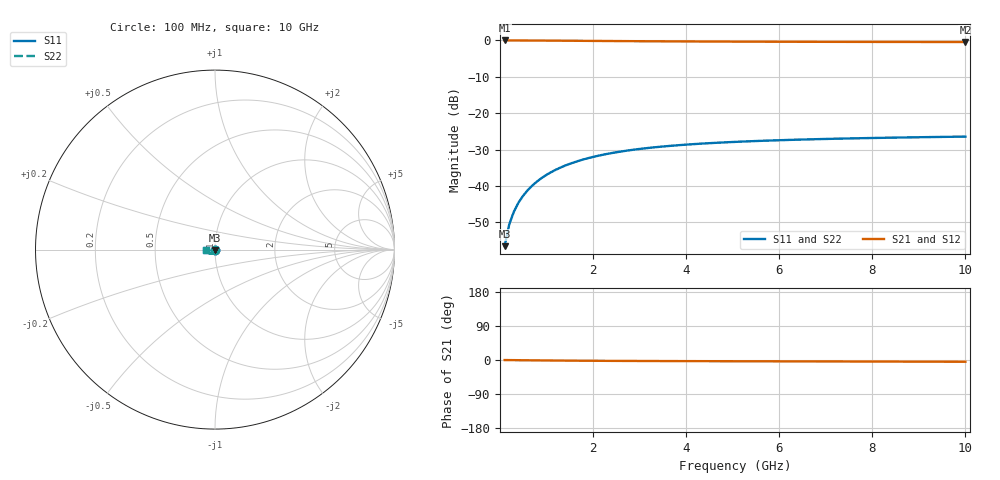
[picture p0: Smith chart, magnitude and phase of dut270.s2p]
! Touchstone file exported from HFSS 2024.1.0
!  File:  C:/UserFiles/LocalFiles/RDL_TSV_Batchsim/temp_TSV1_270_1779392314.aedt
!  Generated:  03:42:58 AM May 22, 2026
!  Design:  TSV1
!  Project:  temp_TSV1_270_1779392314
!  Setup:  Setup1
!  Solution:  Sweep
! Variables:
!  dtsv = 14.15um
!  hbump = 3um
!  htsv = 68.76um
!  lrdl = 252.1521522um
!  p = 40
!  p1 = 57.68um
!  t = 500um
!  trdl = 3um
!  wrdl = 24.89489489um
# GHz S MA R 50.000000
! Terminal data exported
! Port[1] = TSV22_T1
! Port[2] = TSV22_T2
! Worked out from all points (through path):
!   100 points, 100 MHz to 10 GHz, reference 50 ohm
!   highest |S21| = 0.00 dB at 100 MHz (marker M1); lowest = -0.4 dB at 10 GHz (marker M2)
!   lowest |S11| = -56.6 dB at 100 MHz (marker M3), VSWR 1.00, Z = 50 - j0.148 ohm
!   |S11| at or under -10 dB: start of sweep to end of sweep
!   |S22| runs from -56.6 to -26.5 dB; largest |S21 - S12| = 4.1e-15
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0.1  0.00148 -89.1  0.9999 -0.1  0.9999 -0.1  0.00148 -89.1
! Gamma 0 0 0 0
! Port Impedance 50 0 50 0
0.2  0.002958 -92.3  0.9997 -0.3  0.9997 -0.3  0.002958 -92.3
0.3  0.004433 -94.7  0.9994 -0.4  0.9994 -0.4  0.004433 -94.7
0.4  0.005897 -96.9  0.9991 -0.5  0.9991 -0.5  0.005897 -96.9
0.5  0.007345 -99.0  0.9986 -0.6  0.9986 -0.6  0.007345 -99.0
0.6  0.008771 -101.0  0.9981 -0.8  0.9981 -0.8  0.008771 -101.0
0.7  0.01017 -103.0  0.9974 -0.9  0.9974 -0.9  0.01017 -103.0
0.8  0.01154 -105.0  0.9968 -1.0  0.9968 -1.0  0.01154 -105.0
0.9  0.01288 -106.9  0.996 -1.1  0.996 -1.1  0.01288 -106.9
1.1  0.01544 -110.5  0.9943 -1.3  0.9943 -1.3  0.01544 -110.5
1.4  0.01899 -115.7  0.9916 -1.6  0.9916 -1.6  0.01899 -115.7
1.6  0.02115 -118.9  0.9896 -1.8  0.9896 -1.8  0.02115 -118.9
1.8  0.02315 -122.0  0.9876 -1.9  0.9876 -1.9  0.02315 -122.0
2.1  0.02586 -126.3  0.9846 -2.1  0.9846 -2.1  0.02586 -126.3
2.5  0.02897 -131.4  0.9808 -2.4  0.9808 -2.4  0.02897 -131.4
2.9  0.03159 -136.0  0.9773 -2.5  0.9773 -2.5  0.03159 -136.0
3.4  0.03429 -141.0  0.9733 -2.8  0.9733 -2.8  0.03429 -141.0
4.2  0.03763 -147.8  0.9681 -3.0  0.9681 -3.0  0.03763 -147.8
5.1  0.04037 -154.0  0.9636 -3.3  0.9636 -3.3  0.04037 -154.0
6.7  0.04369 -162.7  0.9579 -3.7  0.9579 -3.7  0.04369 -162.7
8.4  0.046 -169.8  0.954 -4.2  0.954 -4.2  0.046 -169.8
10  0.04757 -175.4  0.9516 -4.6  0.9516 -4.6  0.04757 -175.4
